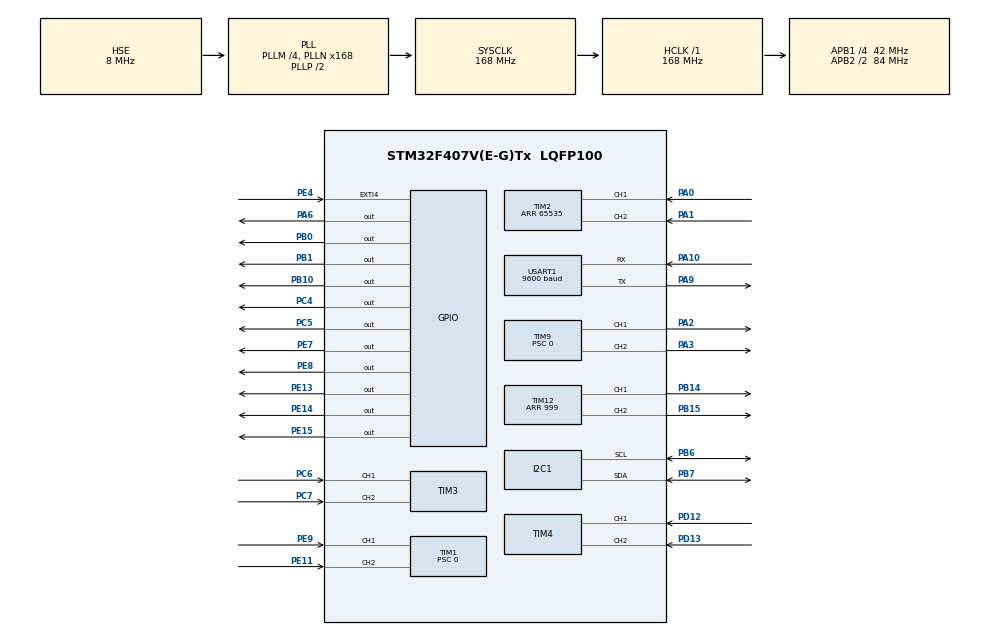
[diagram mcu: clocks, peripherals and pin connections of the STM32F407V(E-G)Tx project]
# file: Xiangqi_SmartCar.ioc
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Dma.Request0=USART1_RX
Dma.Request1=USART1_TX
Dma.USART1_RX.0.Direction=DMA_PERIPH_TO_MEMORY
Dma.USART1_RX.0.FIFOMode=DMA_FIFOMODE_DISABLE
Dma.USART1_RX.0.Instance=DMA2_Stream2
Dma.USART1_RX.0.MemDataAlignment=DMA_MDATAALIGN_BYTE
Dma.USART1_RX.0.MemInc=DMA_MINC_ENABLE
Dma.USART1_RX.0.Mode=DMA_CIRCULAR
Dma.USART1_RX.0.PeriphDataAlignment=DMA_PDATAALIGN_BYTE
Dma.USART1_RX.0.PeriphInc=DMA_PINC_DISABLE
Dma.USART1_RX.0.Priority=DMA_PRIORITY_LOW
Dma.USART1_TX.1.Direction=DMA_MEMORY_TO_PERIPH
Dma.USART1_TX.1.FIFOMode=DMA_FIFOMODE_DISABLE
Dma.USART1_TX.1.Instance=DMA2_Stream7
Dma.USART1_TX.1.MemDataAlignment=DMA_MDATAALIGN_BYTE
Dma.USART1_TX.1.MemInc=DMA_MINC_ENABLE
Dma.USART1_TX.1.Mode=DMA_NORMAL
Dma.USART1_TX.1.PeriphDataAlignment=DMA_PDATAALIGN_BYTE
Dma.USART1_TX.1.PeriphInc=DMA_PINC_DISABLE
Dma.USART1_TX.1.Priority=DMA_PRIORITY_LOW
FREERTOS.BinarySemaphores01=sem_KeyPressed,Dynamic,NULL,Depleted
FREERTOS.Mutexes01=MPU6050_Mutex,Dynamic,NULL,Available
FREERTOS.Queues01=SerialData,1024,uint8_t,0,Dynamic,NULL,NULL
FREERTOS.Tasks01=ReadMotor_Task,24,128,ReadMotor,Default,NULL,Dynamic,NULL,NULL;Chassis_Task,8,64,Chassis,Default,NULL,Dynamic,NULL,NULL;SerialParse_Task,8,128,SerialParse,Default,NULL,Dynamic,NULL,NULL;IMU_Task,8,256,IMU,Default,NULL,Dynamic,NULL,NULL;MPUmeasure_Task,8,128,MPUmeasure,Default,NULL,Dynamic,NULL,NULL;Key_Task,8,128,Key,Default,NULL,Dynamic,NULL,NULL;referee_task,24,128,referee_usart_task,As external,NULL,Dynamic,NULL,NULL;cpu_monitor_task,8,64,cpu_monitor,Default,NULL,Dynamic,NULL,NULL
FREERTOS.configCHECK_FOR_STACK_OVERFLOW=2
FREERTOS.configENABLE_FPU=1
FREERTOS.configGENERATE_RUN_TIME_STATS=0
FREERTOS.configMAX_TASK_NAME_LEN=32
FREERTOS.configMINIMAL_STACK_SIZE=64
FREERTOS.configRECORD_STACK_HIGH_ADDRESS=1
FREERTOS.configTOTAL_HEAP_SIZE=16384
FREERTOS.configUSE_IDLE_HOOK=1
I2C1.I2C_Mode=I2C_Fast
Mcu.Family=STM32F4
Mcu.Name=STM32F407V(E-G)Tx
Mcu.Package=LQFP100
NVIC.DMA2_Stream2_IRQn=true\:5\:0\:false\:false\:true\:true\:false\:true\:true
NVIC.DMA2_Stream7_IRQn=true\:5\:0\:false\:false\:true\:true\:false\:true\:true
NVIC.EXTI4_IRQn=true\:5\:0\:false\:false\:true\:true\:true\:true\:true
NVIC.PriorityGroup=NVIC_PRIORITYGROUP_4
NVIC.TIM8_TRG_COM_TIM14_IRQn=true\:15\:0\:false\:false\:true\:false\:false\:true\:true
NVIC.TimeBase=TIM8_TRG_COM_TIM14_IRQn
NVIC.TimeBaseIP=TIM14
NVIC.USART1_IRQn=true\:5\:0\:false\:false\:true\:true\:true\:true\:true
PA0-WKUP.Signal=S_TIM2_CH1_ETR
PA1.Signal=S_TIM2_CH2
PA10.Mode=Asynchronous
PA10.Signal=USART1_RX
PA13.Mode=Serial_Wire
PA13.Signal=SYS_JTMS-SWDIO
PA14.Mode=Serial_Wire
PA14.Signal=SYS_JTCK-SWCLK
PA2.Signal=S_TIM9_CH1
PA3.Signal=S_TIM9_CH2
PA6.GPIO_PuPd=GPIO_PULLUP
PA6.PinState=GPIO_PIN_SET
PA6.Signal=GPIO_Output
PA9.Mode=Asynchronous
PA9.Signal=USART1_TX
PB0.GPIO_PuPd=GPIO_PULLUP
PB0.PinState=GPIO_PIN_SET
PB0.Signal=GPIO_Output
PB1.GPIO_PuPd=GPIO_PULLUP
PB1.PinState=GPIO_PIN_SET
PB1.Signal=GPIO_Output
PB10.GPIO_PuPd=GPIO_PULLUP
PB10.PinState=GPIO_PIN_SET
PB10.Signal=GPIO_Output
PB14.Signal=S_TIM12_CH1
PB15.Signal=S_TIM12_CH2
PB6.Mode=I2C
PB6.Signal=I2C1_SCL
PB7.Mode=I2C
PB7.Signal=I2C1_SDA
PC4.GPIO_PuPd=GPIO_PULLUP
PC4.GPIO_Speed=GPIO_SPEED_FREQ_LOW
PC4.PinState=GPIO_PIN_SET
PC4.Signal=GPIO_Output
PC5.GPIO_PuPd=GPIO_PULLUP
PC5.PinState=GPIO_PIN_SET
PC5.Signal=GPIO_Output
PC6.Signal=S_TIM3_CH1
PC7.Signal=S_TIM3_CH2
PD12.Signal=S_TIM4_CH1
PD13.Signal=S_TIM4_CH2
PE11.GPIO_PuPd=GPIO_NOPULL
PE11.GPIO_Speed=GPIO_SPEED_FREQ_LOW
PE11.Signal=S_TIM1_CH2
PE13.GPIO_PuPd=GPIO_PULLUP
PE13.PinState=GPIO_PIN_SET
PE13.Signal=GPIO_Output
PE14.GPIO_PuPd=GPIO_PULLUP
PE14.PinState=GPIO_PIN_SET
PE14.Signal=GPIO_Output
PE15.GPIO_PuPd=GPIO_PULLUP
PE15.PinState=GPIO_PIN_SET
PE15.Signal=GPIO_Output
PE4.GPIO_ModeDefaultEXTI=GPIO_MODE_IT_FALLING
PE4.GPIO_PuPd=GPIO_PULLUP
PE4.Signal=GPXTI4
PE7.GPIO_PuPd=GPIO_PULLUP
PE7.PinState=GPIO_PIN_SET
PE7.Signal=GPIO_Output
PE8.GPIO_PuPd=GPIO_PULLUP
PE8.PinState=GPIO_PIN_SET
PE8.Signal=GPIO_Output
PE9.GPIO_PuPd=GPIO_NOPULL
PE9.GPIO_Speed=GPIO_SPEED_FREQ_LOW
PE9.Signal=S_TIM1_CH1
PH0-OSC_IN.Mode=HSE-External-Oscillator
PH0-OSC_IN.Signal=RCC_OSC_IN
PH1-OSC_OUT.Mode=HSE-External-Oscillator
PH1-OSC_OUT.Signal=RCC_OSC_OUT
ProjectManager.HeapSize=0x400
ProjectManager.StackSize=0x800
ProjectManager.TargetToolchain=CMake
RCC.48MHZClocksFreq_Value=48000000
RCC.AHBFreq_Value=168000000
RCC.APB1CLKDivider=RCC_HCLK_DIV4
RCC.APB1Freq_Value=42000000
RCC.APB1TimFreq_Value=84000000
RCC.APB2CLKDivider=RCC_HCLK_DIV2
RCC.APB2Freq_Value=84000000
RCC.APB2TimFreq_Value=168000000
RCC.CortexFreq_Value=168000000
RCC.EnbaleCSS=true
RCC.HCLKFreq_Value=168000000
RCC.HSE_VALUE=8000000
RCC.HSI_VALUE=16000000
RCC.LSE_VALUE=32768
RCC.PLLM=4
RCC.PLLN=168
RCC.PLLQ=7
RCC.PLLSourceVirtual=RCC_PLLSOURCE_HSE
RCC.SYSCLKFreq_VALUE=168000000
RCC.SYSCLKSource=RCC_SYSCLKSOURCE_PLLCLK
RCC.VCOOutputFreq_Value=336000000
SH.S_TIM12_CH1.0=TIM12_CH1,PWM Generation1 CH1
SH.S_TIM12_CH2.0=TIM12_CH2,PWM Generation2 CH2
SH.S_TIM1_CH1.0=TIM1_CH1,Encoder_Interface
SH.S_TIM1_CH2.0=TIM1_CH2,Encoder_Interface
SH.S_TIM2_CH1_ETR.0=TIM2_CH1,Encoder_Interface
SH.S_TIM2_CH2.0=TIM2_CH2,Encoder_Interface
SH.S_TIM3_CH1.0=TIM3_CH1,Encoder_Interface
SH.S_TIM3_CH2.0=TIM3_CH2,Encoder_Interface
SH.S_TIM4_CH1.0=TIM4_CH1,Encoder_Interface
SH.S_TIM4_CH2.0=TIM4_CH2,Encoder_Interface
SH.S_TIM9_CH1.0=TIM9_CH1,PWM Generation1 CH1
SH.S_TIM9_CH2.0=TIM9_CH2,PWM Generation2 CH2
TIM1.AutoReloadPreload=TIM_AUTORELOAD_PRELOAD_ENABLE
TIM1.EncoderMode=TIM_ENCODERMODE_TI12
TIM1.IC1Filter=0xf
TIM1.IC2Filter=0xf
TIM1.Prescaler=0
TIM12.AutoReloadPreload=TIM_AUTORELOAD_PRELOAD_ENABLE
TIM12.Channel-PWM\ Generation1\ CH1=TIM_CHANNEL_1
TIM12.Channel-PWM\ Generation2\ CH2=TIM_CHANNEL_2
TIM12.Period=999
TIM2.AutoReloadPreload=TIM_AUTORELOAD_PRELOAD_ENABLE
TIM2.IC1Filter=0xf
TIM2.IC2Filter=0xf
TIM2.Period=65535
TIM3.AutoReloadPreload=TIM_AUTORELOAD_PRELOAD_ENABLE
TIM3.IC1Filter=0xf
TIM3.IC2Filter=0xf
TIM4.AutoReloadPreload=TIM_AUTORELOAD_PRELOAD_ENABLE
TIM4.IC1Filter=0xf
TIM4.IC2Filter=0xf
TIM9.AutoReloadPreload=TIM_AUTORELOAD_PRELOAD_ENABLE
TIM9.Channel-PWM\ Generation1\ CH1=TIM_CHANNEL_1
TIM9.Channel-PWM\ Generation2\ CH2=TIM_CHANNEL_2
TIM9.Period=999
TIM9.Prescaler=0
USART1.BaudRate=9600
USART1.VirtualMode=VM_ASYNC
VP_FREERTOS_VS_CMSIS_V2.Mode=CMSIS_V2
VP_SYS_VS_tim14.Mode=TIM14
VP_TIM12_VS_ClockSourceINT.Mode=Internal
VP_TIM9_VS_ClockSourceINT.Mode=Internal
board=custom

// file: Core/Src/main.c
/* USER CODE BEGIN Header */
/**
  ******************************************************************************
  * @file           : main.c
  * @brief          : Main program body
  ******************************************************************************
  * @attention
  *
  * Copyright (c) 2026 STMicroelectronics.
  * All rights reserved.
  *
  * This software is licensed under terms that can be found in the LICENSE file
  * in the root directory of this software component.
  * If no LICENSE file comes with this software, it is provided AS-IS.
  *
  ******************************************************************************
  */
/* USER CODE END Header */
#include "main.h"
#include "cmsis_os.h"
#include "dma.h"
#include "i2c.h"
#include "tim.h"
#include "usart.h"
#include "gpio.h"

void SystemClock_Config(void);
void MX_FREERTOS_Init(void);

int main(void)
{

  /* MCU Configuration--------------------------------------------------------*/

  /* Reset of all peripherals, Initializes the Flash interface and the Systick. */
  HAL_Init();

  /* Configure the system clock */
  SystemClock_Config();

  /* Initialize all configured peripherals */
  MX_GPIO_Init();
  MX_DMA_Init();
  MX_USART1_UART_Init();
  MX_TIM1_Init();
  MX_TIM2_Init();
  MX_TIM3_Init();
  MX_TIM4_Init();
  MX_TIM9_Init();
  MX_TIM12_Init();
  MX_I2C1_Init();
  /* USER CODE BEGIN 2 */
  HAL_Delay(200);
  /* USER CODE END 2 */

  /* Init scheduler */
  osKernelInitialize();  /* Call init function for freertos objects (in cmsis_os2.c) */
  MX_FREERTOS_Init();

  /* Start scheduler */
  osKernelStart();

  /* We should never get here as control is now taken by the scheduler */

  /* Infinite loop */
  while (1)
  {

  }
}

void SystemClock_Config(void)
{
  RCC_OscInitTypeDef RCC_OscInitStruct = {0};
  RCC_ClkInitTypeDef RCC_ClkInitStruct = {0};

  /** Configure the main internal regulator output voltage
  */
  __HAL_RCC_PWR_CLK_ENABLE();
  __HAL_PWR_VOLTAGESCALING_CONFIG(PWR_REGULATOR_VOLTAGE_SCALE1);

  /** Initializes the RCC Oscillators according to the specified parameters
  * in the RCC_OscInitTypeDef structure.
  */
  RCC_OscInitStruct.OscillatorType = RCC_OSCILLATORTYPE_HSE;
  RCC_OscInitStruct.HSEState = RCC_HSE_ON;
  RCC_OscInitStruct.PLL.PLLState = RCC_PLL_ON;
  RCC_OscInitStruct.PLL.PLLSource = RCC_PLLSOURCE_HSE;
  RCC_OscInitStruct.PLL.PLLM = 4;
  RCC_OscInitStruct.PLL.PLLN = 168;
  RCC_OscInitStruct.PLL.PLLP = RCC_PLLP_DIV2;
  RCC_OscInitStruct.PLL.PLLQ = 7;
  if (HAL_RCC_OscConfig(&RCC_OscInitStruct) != HAL_OK)
  {
    Error_Handler();
  }

  /** Initializes the CPU, AHB and APB buses clocks
  */
  RCC_ClkInitStruct.ClockType = RCC_CLOCKTYPE_HCLK|RCC_CLOCKTYPE_SYSCLK
                              |RCC_CLOCKTYPE_PCLK1|RCC_CLOCKTYPE_PCLK2;
  RCC_ClkInitStruct.SYSCLKSource = RCC_SYSCLKSOURCE_PLLCLK;
  RCC_ClkInitStruct.AHBCLKDivider = RCC_SYSCLK_DIV1;
  RCC_ClkInitStruct.APB1CLKDivider = RCC_HCLK_DIV4;
  RCC_ClkInitStruct.APB2CLKDivider = RCC_HCLK_DIV2;

  if (HAL_RCC_ClockConfig(&RCC_ClkInitStruct, FLASH_LATENCY_5) != HAL_OK)
  {
    Error_Handler();
  }

  /** Enables the Clock Security System
  */
  HAL_RCC_EnableCSS();
}

void HAL_TIM_PeriodElapsedCallback(TIM_HandleTypeDef *htim)
{
  if (htim->Instance == TIM14)
  {
    HAL_IncTick();
  }
}

void Error_Handler(void)
{
  __disable_irq();
  while (1)
  {
  }
}

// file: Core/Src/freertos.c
/* USER CODE BEGIN Header */
/**
 ******************************************************************************
 * File Name          : freertos.c
 * Description        : Code for freertos applications
 ******************************************************************************
 * @attention
 *
 * Copyright (c) 2026 STMicroelectronics.
 * All rights reserved.
 *
 * This software is licensed under terms that can be found in the LICENSE file
 * in the root directory of this software component.
 * If no LICENSE file comes with this software, it is provided AS-IS.
 *
 ******************************************************************************
 */
/* USER CODE END Header */

#include "FreeRTOS.h"
#include "task.h"
#include "main.h"
#include "cmsis_os.h"

/* USER CODE BEGIN Includes */
#include "MPU6050.h"
#include "Motors.h"
#include <stdint.h>
#include "i2c.h"
#include "filter.h"
#include "IMU.h"
#include "math.h"
/* USER CODE END Includes */

/* USER CODE BEGIN PD */
#define KEY_Pin       GPIO_PIN_4
#define KEY_GPIO_Port GPIOE
#define DEG2RAD (M_PI / 180.0f)
/* USER CODE END PD */

/* USER CODE BEGIN Variables */
extern Motor_t motor[4];
extern MPU6050_t MPU6050;
extern Kalman1D_t Kalman1D_AX,Kalman1D_AY,Kalman1D_AZ,Kalman1D_GX,Kalman1D_GY,Kalman1D_GZ;
YawKF2_t yaw_kf;
static volatile uint32_t idle_tick = 0;
TickType_t ulLastIdleTick = 0;
float cpu_usage;
/* USER CODE END Variables */
/* Definitions for ReadMotor_Task */
osThreadId_t ReadMotor_TaskHandle;
const osThreadAttr_t ReadMotor_Task_attributes = {
  .name = "ReadMotor_Task",
  .stack_size = 128 * 4,
  .priority = (osPriority_t) osPriorityNormal,
};
/* Definitions for Chassis_Task */
osThreadId_t Chassis_TaskHandle;
const osThreadAttr_t Chassis_Task_attributes = {
  .name = "Chassis_Task",
  .stack_size = 64 * 4,
  .priority = (osPriority_t) osPriorityLow,
};
/* Definitions for SerialParse_Task */
osThreadId_t SerialParse_TaskHandle;
const osThreadAttr_t SerialParse_Task_attributes = {
  .name = "SerialParse_Task",
  .stack_size = 128 * 4,
  .priority = (osPriority_t) osPriorityLow,
};
/* Definitions for IMU_Task */
osThreadId_t IMU_TaskHandle;
const osThreadAttr_t IMU_Task_attributes = {
  .name = "IMU_Task",
  .stack_size = 256 * 4,
  .priority = (osPriority_t) osPriorityLow,
};
/* Definitions for MPUmeasure_Task */
osThreadId_t MPUmeasure_TaskHandle;
const osThreadAttr_t MPUmeasure_Task_attributes = {
  .name = "MPUmeasure_Task",
  .stack_size = 128 * 4,
  .priority = (osPriority_t) osPriorityLow,
};
/* Definitions for Key_Task */
osThreadId_t Key_TaskHandle;
const osThreadAttr_t Key_Task_attributes = {
  .name = "Key_Task",
  .stack_size = 128 * 4,
  .priority = (osPriority_t) osPriorityLow,
};
/* Definitions for referee_task */
osThreadId_t referee_taskHandle;
const osThreadAttr_t referee_task_attributes = {
  .name = "referee_task",
  .stack_size = 128 * 4,
  .priority = (osPriority_t) osPriorityNormal,
};
/* Definitions for cpu_monitor_task */
osThreadId_t cpu_monitor_taskHandle;
const osThreadAttr_t cpu_monitor_task_attributes = {
  .name = "cpu_monitor_task",
  .stack_size = 64 * 4,
  .priority = (osPriority_t) osPriorityLow,
};
/* Definitions for SerialData */
osMessageQueueId_t SerialDataHandle;
const osMessageQueueAttr_t SerialData_attributes = {
  .name = "SerialData"
};
/* Definitions for MPU6050_Mutex */
osMutexId_t MPU6050_MutexHandle;
const osMutexAttr_t MPU6050_Mutex_attributes = {
  .name = "MPU6050_Mutex"
};
/* Definitions for sem_KeyPressed */
osSemaphoreId_t sem_KeyPressedHandle;
const osSemaphoreAttr_t sem_KeyPressed_attributes = {
  .name = "sem_KeyPressed"
};

void ReadMotor(void *argument);
void Chassis(void *argument);
void SerialParse(void *argument);
void IMU(void *argument);
void MPUmeasure(void *argument);
void Key(void *argument);
extern void referee_usart_task(void *argument);
void cpu_monitor(void *argument);

void MX_FREERTOS_Init(void); /* (MISRA C 2004 rule 8.1) */

/* Hook prototypes */
void vApplicationIdleHook(void);
void vApplicationStackOverflowHook(xTaskHandle xTask, signed char *pcTaskName);

/* USER CODE BEGIN 2 */
void vApplicationIdleHook(void)
{
  TickType_t ulCurrentTick = xTaskGetTickCount();
  if(ulCurrentTick > ulLastIdleTick)
  {
      idle_tick++;
      ulLastIdleTick = ulCurrentTick;
  }
  /* vApplicationIdleHook() will only be called if configUSE_IDLE_HOOK is set
  to 1 in FreeRTOSConfig.h. It will be called on each iteration of the idle
  task. It is essential that code added to this hook function never attempts
  to block in any way (for example, call xQueueReceive() with a block time
  specified, or call vTaskDelay()). If the application makes use of the
  vTaskDelete() API function (as this demo application does) then it is also
  important that vApplicationIdleHook() is permitted to return to its calling
  function, because it is the responsibility of the idle task to clean up
  memory allocated by the kernel to any task that has since been deleted. */
}
/* USER CODE END 2 */

/* USER CODE BEGIN 4 */
void vApplicationStackOverflowHook(xTaskHandle xTask, signed char *pcTaskName)
{
   /* Run time stack overflow checking is performed if
   configCHECK_FOR_STACK_OVERFLOW is defined to 1 or 2. This hook function is
   called if a stack overflow is detected. */
}
/* USER CODE END 4 */

void MX_FREERTOS_Init(void) {
  /* Create the mutex(es) */
  /* creation of MPU6050_Mutex */
  MPU6050_MutexHandle = osMutexNew(&MPU6050_Mutex_attributes);

  /* Create the semaphores(s) */
  /* creation of sem_KeyPressed */
  sem_KeyPressedHandle = osSemaphoreNew(1, 0, &sem_KeyPressed_attributes);

  /* Create the queue(s) */
  /* creation of SerialData */
  SerialDataHandle = osMessageQueueNew (1024, sizeof(uint8_t), &SerialData_attributes);

  /* Create the thread(s) */
  /* creation of ReadMotor_Task */
  ReadMotor_TaskHandle = osThreadNew(ReadMotor, NULL, &ReadMotor_Task_attributes);

  /* creation of Chassis_Task */
  Chassis_TaskHandle = osThreadNew(Chassis, NULL, &Chassis_Task_attributes);

  /* creation of SerialParse_Task */
  SerialParse_TaskHandle = osThreadNew(SerialParse, NULL, &SerialParse_Task_attributes);

  /* creation of IMU_Task */
  IMU_TaskHandle = osThreadNew(IMU, NULL, &IMU_Task_attributes);

  /* creation of MPUmeasure_Task */
  MPUmeasure_TaskHandle = osThreadNew(MPUmeasure, NULL, &MPUmeasure_Task_attributes);

  /* creation of Key_Task */
  Key_TaskHandle = osThreadNew(Key, NULL, &Key_Task_attributes);

  /* creation of referee_task */
  referee_taskHandle = osThreadNew(referee_usart_task, NULL, &referee_task_attributes);

  /* creation of cpu_monitor_task */
  cpu_monitor_taskHandle = osThreadNew(cpu_monitor, NULL, &cpu_monitor_task_attributes);

}

void ReadMotor(void *argument)
{
  /* USER CODE BEGIN ReadMotor */
  Motors_Init();
  uint8_t i = 0;
  uint32_t tick = osKernelGetTickCount();
  uint8_t T_ms = 20;
  /* Infinite loop */
  for (;;) {
    for (i = 0; i < 4; i++) {
      Encoder_Get(&motor[i]);
      Encoder_to_rpm(&motor[i], T_ms);
      Encoder_to_Speed(&motor[i], T_ms);
    }
    tick += pdMS_TO_TICKS(T_ms);
    osDelayUntil(tick);
  }
  /* USER CODE END ReadMotor */
}

void Chassis(void *argument)
{
  /* USER CODE BEGIN Chassis */
  /* Infinite loop */
  for (;;) {
    // Chassis_Ctrl();
    osDelay(20);
  }
  /* USER CODE END Chassis */
}

void SerialParse(void *argument)
{
  /* USER CODE BEGIN SerialParse */
  /* Infinite loop */
  for (;;) {
    osDelay(10);
  }
  /* USER CODE END SerialParse */
}

void IMU(void *argument)
{
  /* USER CODE BEGIN IMU */
  float z[2];
  YawKF2_Init(&yaw_kf, 0.01f, 1e-4f, 1e-7f, 0.01f);
  /* Infinite loop */
  for (;;) {
    z[0]=MPU6050.filteredData.Gyro_Z*DEG2RAD;
    z[1]=yaw_kf.X[0];
    YawKF2_Run(&yaw_kf, z, 1);
    osDelay(10);
  }
  /* USER CODE END IMU */
}

void MPUmeasure(void *argument)
{
  /* USER CODE BEGIN MPUmeasure */
  Kalman1D_Init(&Kalman1D_AX, 0.2, 2.0, 0);
  Kalman1D_Init(&Kalman1D_AY, 0.2, 2.0, 0);
  Kalman1D_Init(&Kalman1D_AZ, 0.2, 2.0, 0);
  Kalman1D_Init(&Kalman1D_GX, 0.2, 2.0, 0);
  Kalman1D_Init(&Kalman1D_GY, 0.2, 2.0, 0);
  Kalman1D_Init(&Kalman1D_GZ, 0.2, 2.0, 0);
  MPU6050_ConfigInit();
  MPU6050_Init();
  MPU6050_GetID(&MPU6050);
  HAL_StatusTypeDef ret = HAL_OK;
  uint32_t tick = osKernelGetTickCount();
  uint32_t T_ms = 1000 / MPU6050.config.Sample_Rate;
  uint8_t fail_count = 0; // 连续失败计数器
  /* Infinite loop */
  for (;;) {
    osMutexAcquire(MPU6050_MutexHandle, osWaitForever);
    tick = osKernelGetTickCount();
    ret = MPU6050_ReadAccX(&MPU6050);
    if (ret == HAL_OK) ret = MPU6050_ReadAccY(&MPU6050);
    if (ret == HAL_OK) ret = MPU6050_ReadAccZ(&MPU6050);
    if (ret == HAL_OK) ret = MPU6050_ReadGyroX(&MPU6050);
    if (ret == HAL_OK) ret = MPU6050_ReadGyroY(&MPU6050);
    if (ret == HAL_OK) ret = MPU6050_ReadGyroZ(&MPU6050);
    if (ret == HAL_OK) ret = MPU6050_ReadTemp(&MPU6050);
    osMutexRelease(MPU6050_MutexHandle);
    if (ret != HAL_OK)
    {
      fail_count++;
    }
    else
    {
      fail_count=0;
      MPU6050.filteredData.Accel_X=kalman_filter(&Kalman1D_AX, MPU6050.data.Accel_X);
      MPU6050.filteredData.Accel_Y=kalman_filter(&Kalman1D_AY, MPU6050.data.Accel_Y);
      MPU6050.filteredData.Accel_Z=kalman_filter(&Kalman1D_AZ, MPU6050.data.Accel_Y);
      MPU6050.filteredData.Gyro_X=kalman_filter(&Kalman1D_GX, MPU6050.data.Gyro_X);
      MPU6050.filteredData.Gyro_Y=kalman_filter(&Kalman1D_GY, MPU6050.data.Gyro_Y);
      MPU6050.filteredData.Gyro_Z=kalman_filter(&Kalman1D_GZ, MPU6050.data.Gyro_Z);
    }
    if (fail_count >= 3)
    {
      HAL_GPIO_WritePin(GPIOA,GPIO_PIN_6,GPIO_PIN_RESET);
      if(MPU6050_Recover(&MPU6050)==HAL_OK)
      {
        HAL_GPIO_WritePin(GPIOA,GPIO_PIN_6,GPIO_PIN_SET);
        ret = HAL_OK;
        fail_count = 0;
      }
    }
    tick += pdMS_TO_TICKS(T_ms);
    osDelayUntil(tick);
  }
  /* USER CODE END MPUmeasure */
}

void Key(void *argument)
{
  /* USER CODE BEGIN Key */
  uint32_t press_time = 0;
  /* Infinite loop */
  for (;;) {
    // 1. 没按键时，死等在这里睡觉（0% CPU占用）
    if (osSemaphoreAcquire(sem_KeyPressedHandle, osWaitForever) == osOK) {
      osDelay(20);
      if (HAL_GPIO_ReadPin(KEY_GPIO_Port, KEY_Pin) != GPIO_PIN_RESET) {
          continue;
      }
      press_time = osKernelGetTickCount(); // 记录按下的时间
      // 2. 判断按住的时间（这是一个简单的循环，不复杂）
      while (HAL_GPIO_ReadPin(KEY_GPIO_Port, KEY_Pin) == GPIO_PIN_RESET) {
        if ((osKernelGetTickCount() - press_time) >= 2000) {
          osMutexAcquire(MPU6050_MutexHandle, osWaitForever);
          if(MPU6050_Calibrate(&MPU6050, 500)!=HAL_OK)HAL_GPIO_WritePin(GPIOA,GPIO_PIN_6,GPIO_PIN_RESET);
          osSemaphoreAcquire(sem_KeyPressedHandle, 0);
          osMutexRelease(MPU6050_MutexHandle);
          break;
        }
        osDelay(10);
      }
    }
  }
  /* USER CODE END Key */
}

void cpu_monitor(void *argument)
{
  /* USER CODE BEGIN cpu_monitor */
  uint32_t tick = osKernelGetTickCount();
  /* Infinite loop */
  for(;;)
  {
    tick += pdMS_TO_TICKS(1000);
    osDelayUntil(tick);
    cpu_usage = 100.0f - idle_tick * 100.0f / (float)configTICK_RATE_HZ;
    idle_tick=0;
    ulLastIdleTick = xTaskGetTickCount();
  }
  /* USER CODE END cpu_monitor */
}

/* USER CODE BEGIN Application */
void HAL_GPIO_EXTI_Callback(uint16_t GPIO_Pin)
{
  // 1. 识别是不是我们的按键引脚（PE4）
  if (GPIO_Pin == KEY_Pin) {
    // 2. （可选防抖）再读一次电平，确认是真的按下了，而不是毛刺
    if (HAL_GPIO_ReadPin(KEY_GPIO_Port, KEY_Pin) == GPIO_PIN_RESET) {
      // 3. 释放信号量，通知任务
      // 注意：在中断中调用，不要用带阻塞的API，osSemaphoreRelease是安全的
      osSemaphoreRelease(sem_KeyPressedHandle);
    }
  }
}
/* USER CODE END Application */
